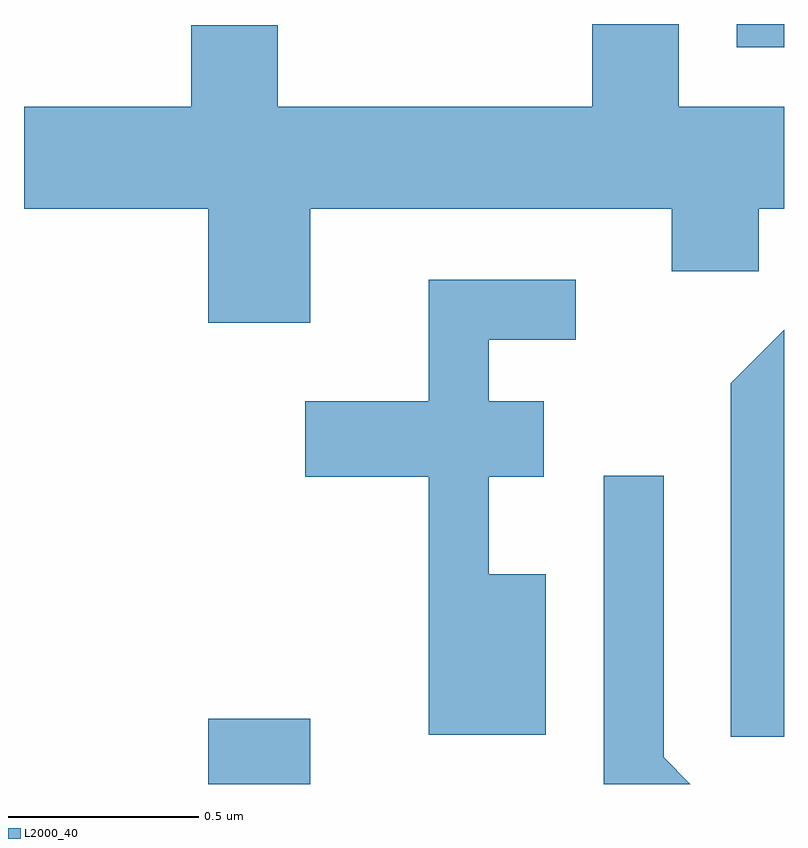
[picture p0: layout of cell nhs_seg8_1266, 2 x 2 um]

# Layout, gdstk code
import gdstk
lib = gdstk.Library(unit=1e-6, precision=1e-09)
def R(c, l, rs):  # rectangles x0, y0, x1, y1
    for r in rs: c.add(gdstk.rectangle(r[:2], r[2:], *l))
def P(c, l, *ps):  # polygons
    for p in ps: c.add(gdstk.Polygon(p, *l))
L2000_40 = (2000, 40)

nhs_seg8_1266 = lib.new_cell('nhs_seg8_1266')
R(nhs_seg8_1266, L2000_40, [(195.096,1839.342,195.364,1839.514), (196.486,1841.281,196.611,1841.342)])
P(nhs_seg8_1266, L2000_40, [(195.364,1840.856),(196.316,1840.856),(196.316,1840.691),(196.544,1840.691),(196.544,1840.856),(196.611,1840.856),(196.611,1841.124),(196.334,1841.124),(196.334,1841.342),(196.106,1841.342),(196.106,1841.124),(195.279,1841.124),(195.279,1841.339),(195.051,1841.339),(195.051,1841.124),(194.611,1841.124),(194.611,1840.856),(195.096,1840.856),(195.096,1840.556),(195.364,1840.556)],
  [(195.984,1839.894),(195.834,1839.894),(195.834,1840.151),(195.979,1840.151),(195.979,1840.349),(195.834,1840.349),(195.834,1840.511),(196.063,1840.511),(196.063,1840.669),(195.676,1840.669),(195.676,1840.349),(195.351,1840.349),(195.351,1840.151),(195.676,1840.151),(195.676,1839.471),(195.984,1839.471)],
  [(196.611,1840.537),(196.471,1840.397),(196.471,1839.466),(196.611,1839.466)],
  [(196.294,1839.412),(196.294,1840.153),(196.136,1840.153),(196.136,1839.342),(196.364,1839.342)])

lib.write_gds('nhs_seg8_1266.gds')
